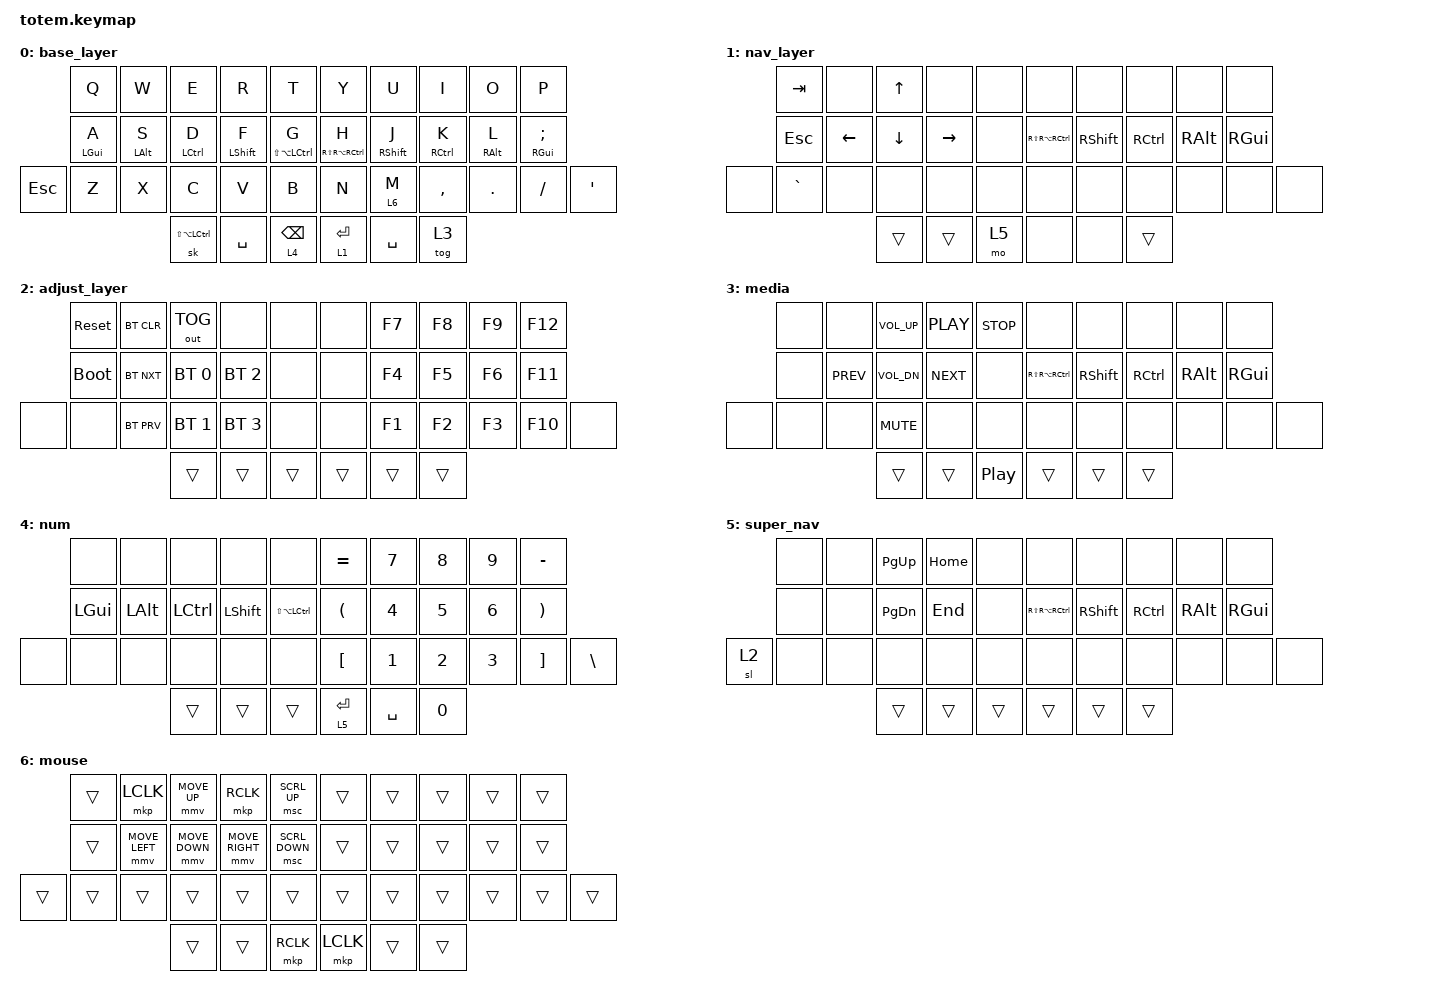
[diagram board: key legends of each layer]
//
//                                                        ▀▀▀▀▀     ▀▀▀▀▀          ▀▀█▀▀
//                                                        ▄▀▀▀▄  ▄  ▄▀▀▀▄  ▄  ▄▀▀▀▄  █  ▄▀▀▀▄
//                                                        █   █  █  █   █  █  █   █  █  █   █
//                                                         ▀▀▀   █   ▀▀▀   █   ▀▀▀   ▀   ▀▀▀
//                                                               █      ▄▄▄█▄▄▄    █   █
//                                                               ▀      █  █  █     █▄█
//                                                             ▀▀▀▀▀    █  █  █      ▀
//                                                                      ▀  ▀  ▀
//
// ▄▄▄▄▄▄▄▄▄▄▄▄▄▄▄▄▄▄▄▄▄▄▄▄▄▄▄▄▄▄▄▄▄▄▄▄▄▄▄▄▄▄▄▄▄▄▄▄▄▄▄▄▄▄▄▄▄▄▄▄▄▄▄▄▄▄▄▄▄▄▄▄▄▄▄▄▄▄▄▄▄▄▄▄▄▄▄▄▄▄▄▄▄▄▄▄▄▄▄▄▄▄▄▄▄▄▄▄▄▄▄▄▄▄▄▄▄▄▄▄▄▄▄▄▄▄▄▄▄▄▄▄▄▄▄▄▄▄▄▄▄▄▄▄▄▄▄▄▄

#define ZMK_POINTING_DEFAULT_MOVE_VAL 1500

#include <behaviors.dtsi>
#include <dt-bindings/zmk/bt.h>
#include <dt-bindings/zmk/keys.h>
#include <dt-bindings/zmk/outputs.h>
#include <dt-bindings/zmk/pointing.h>

&mt {
    quick-tap-ms = <100>;
    global-quick-tap;
    flavor = "tap-preferred";
    tapping-term-ms = <225>;
};

&lt { quick-tap-ms = <200>; };

/ {
    combos {
        compatible = "zmk,combos";

        combo_esc {
            timeout-ms = <50>;
            key-positions = <21 30>;
            bindings = <&caps_word>;
        };
    };

    keymap {
        compatible = "zmk,keymap";

        // ▄▄▄▄▄▄▄▄▄▄▄▄▄▄▄▄▄▄▄▄▄▄▄▄▄▄▄▄▄▄▄▄▄▄▄▄▄▄▄▄▄▄▄▄▄▄▄▄▄▄▄▄▄▄▄▄▄▄▄▄▄▄▄▄▄▄▄▄▄▄▄▄▄▄▄▄▄▄▄▄▄▄▄▄▄▄▄▄▄▄▄▄▄▄▄▄▄▄▄▄▄▄▄▄▄▄▄▄▄▄▄▄▄▄▄▄▄▄▄▄▄▄▄▄▄▄▄▄▄▄▄▄▄▄▄▄▄▄▄▄▄▄▄▄▄▄▄▄▄

        base_layer {
            bindings = <
            &kp Q       &kp W       &kp E              &kp R        &kp T                  &kp Y                &kp U        &kp I        &kp O       &kp P
            &mt LGUI A  &mt LALT S  &mt LCTRL D        &mt LSHFT F  &mt LS(LA(LCTRL)) G    &mt RS(RA(RCTRL)) H  &mt RSHFT J  &mt RCTRL K  &mt RALT L  &mt RGUI SEMICOLON
&kp ESCAPE  &kp Z       &kp X       &kp C              &kp V        &kp B                  &kp N                &lt 6 M      &kp COMMA    &kp DOT     &kp FSLH            &kp SINGLE_QUOTE
                                    &sk LS(LA(LCTRL))  &kp SPACE    &lt 4 BACKSPACE        &lt 1 ENTER          &kp SPACE    &tog 3
            >;
        };

        // ▄▄▄▄▄▄▄▄▄▄▄▄▄▄▄▄▄▄▄▄▄▄▄▄▄▄▄▄▄▄▄▄▄▄▄▄▄▄▄▄▄▄▄▄▄▄▄▄▄▄▄▄▄▄▄▄▄▄▄▄▄▄▄▄▄▄▄▄▄▄▄▄▄▄▄▄▄▄▄▄▄▄▄▄▄▄▄▄▄▄▄▄▄▄▄▄▄▄▄▄▄▄▄▄▄▄▄▄▄▄▄▄▄▄▄▄▄▄▄▄▄▄▄▄▄▄▄▄▄▄▄▄▄▄▄▄▄▄▄▄▄▄▄▄▄▄▄▄▄

        nav_layer {
            bindings = <
       &kp TAB     &none     &kp UP    &none      &none    &none              &none      &none      &none     &none
       &kp ESCAPE  &kp LEFT  &kp DOWN  &kp RIGHT  &none    &kp RS(RA(RCTRL))  &kp RSHFT  &kp RCTRL  &kp RALT  &kp RGUI
&none  &kp GRAVE   &none     &none     &none      &none    &none              &none      &none      &none     &none     &none
                             &trans    &trans     &mo 5    &none              &none      &trans
            >;
        };

        // ▄▄▄▄▄▄▄▄▄▄▄▄▄▄▄▄▄▄▄▄▄▄▄▄▄▄▄▄▄▄▄▄▄▄▄▄▄▄▄▄▄▄▄▄▄▄▄▄▄▄▄▄▄▄▄▄▄▄▄▄▄▄▄▄▄▄▄▄▄▄▄▄▄▄▄▄▄▄▄▄▄▄▄▄▄▄▄▄▄▄▄▄▄▄▄▄▄▄▄▄▄▄▄▄▄▄▄▄▄▄▄▄▄▄▄▄▄▄▄▄▄▄▄▄▄▄▄▄▄▄▄▄▄▄▄▄▄▄▄▄▄▄▄▄▄▄▄▄▄

        adjust_layer {
            bindings = <
       &sys_reset   &bt BT_CLR  &out OUT_TOG  &none         &none     &none   &kp F7  &kp F8  &kp F9  &kp F12
       &bootloader  &bt BT_NXT  &bt BT_SEL 0  &bt BT_SEL 2  &none     &none   &kp F4  &kp F5  &kp F6  &kp F11
&none  &none        &bt BT_PRV  &bt BT_SEL 1  &bt BT_SEL 3  &none     &none   &kp F1  &kp F2  &kp F3  &kp F10  &none
                                &trans        &trans        &trans    &trans  &trans  &trans
            >;
        };

        // ▄▄▄▄▄▄▄▄▄▄▄▄▄▄▄▄▄▄▄▄▄▄▄▄▄▄▄▄▄▄▄▄▄▄▄▄▄▄▄▄▄▄▄▄▄▄▄▄▄▄▄▄▄▄▄▄▄▄▄▄▄▄▄▄▄▄▄▄▄▄▄▄▄▄▄▄▄▄▄▄▄▄▄▄▄▄▄▄▄▄▄▄▄▄▄▄▄▄▄▄▄▄▄▄▄▄▄▄▄▄▄▄▄▄▄▄▄▄▄▄▄▄▄▄▄▄▄▄▄▄▄▄▄▄▄▄▄▄▄▄▄▄▄▄▄▄▄▄▄

        media {
            bindings = <
       &none  &none       &kp C_VOL_UP  &kp C_PLAY  &kp C_STOP          &none              &none      &none      &none     &none
       &none  &kp C_PREV  &kp C_VOL_DN  &kp C_NEXT  &none               &kp RS(RA(RCTRL))  &kp RSHFT  &kp RCTRL  &kp RALT  &kp RGUI
&none  &none  &none       &kp C_MUTE    &none       &none               &none              &none      &none      &none     &none     &none
                          &trans        &trans      &kp C_PLAY_PAUSE    &trans             &trans     &trans
            >;
        };

        // ▄▄▄▄▄▄▄▄▄▄▄▄▄▄▄▄▄▄▄▄▄▄▄▄▄▄▄▄▄▄▄▄▄▄▄▄▄▄▄▄▄▄▄▄▄▄▄▄▄▄▄▄▄▄▄▄▄▄▄▄▄▄▄▄▄▄▄▄▄▄▄▄▄▄▄▄▄▄▄▄▄▄▄▄▄▄▄▄▄▄▄▄▄▄▄▄▄▄▄▄▄▄▄▄▄▄▄▄▄▄▄▄▄▄▄▄▄▄▄▄▄▄▄▄▄▄▄▄▄▄▄▄▄▄▄▄▄▄▄▄▄▄▄▄▄▄▄▄▄

        num {
            bindings = <
       &none     &none     &none      &none      &none                &kp EQUAL             &kp N7     &kp N8  &kp N9  &kp MINUS
       &kp LGUI  &kp LALT  &kp LCTRL  &kp LSHFT  &kp LS(LA(LCTRL))    &kp LEFT_PARENTHESIS  &kp N4     &kp N5  &kp N6  &kp RIGHT_PARENTHESIS
&none  &none     &none     &none      &none      &none                &kp LBKT              &kp N1     &kp N2  &kp N3  &kp RBKT               &kp BACKSLASH
                           &trans     &trans     &trans               &lt 5 ENTER           &kp SPACE  &kp N0
            >;
        };

        // ▄▄▄▄▄▄▄▄▄▄▄▄▄▄▄▄▄▄▄▄▄▄▄▄▄▄▄▄▄▄▄▄▄▄▄▄▄▄▄▄▄▄▄▄▄▄▄▄▄▄▄▄▄▄▄▄▄▄▄▄▄▄▄▄▄▄▄▄▄▄▄▄▄▄▄▄▄▄▄▄▄▄▄▄▄▄▄▄▄▄▄▄▄▄▄▄▄▄▄▄▄▄▄▄▄▄▄▄▄▄▄▄▄▄▄▄▄▄▄▄▄▄▄▄▄▄▄▄▄▄▄▄▄▄▄▄▄▄▄▄▄▄▄▄▄▄▄▄▄

        super_nav {
            bindings = <
       &none  &none  &kp PG_UP      &kp HOME  &none     &none              &none      &none      &none     &none
       &none  &none  &kp PAGE_DOWN  &kp END   &none     &kp RS(RA(RCTRL))  &kp RSHFT  &kp RCTRL  &kp RALT  &kp RGUI
&sl 2  &none  &none  &none          &none     &none     &none              &none      &none      &none     &none     &none
                     &trans         &trans    &trans    &trans             &trans     &trans
            >;
        };

        mouse {
            bindings = <
        &trans  &mkp LCLK       &mmv MOVE_UP    &mkp RCLK        &msc SCRL_UP      &trans     &trans  &trans  &trans  &trans
        &trans  &mmv MOVE_LEFT  &mmv MOVE_DOWN  &mmv MOVE_RIGHT  &msc SCRL_DOWN    &trans     &trans  &trans  &trans  &trans
&trans  &trans  &trans          &trans          &trans           &trans            &trans     &trans  &trans  &trans  &trans  &trans
                                &trans          &trans           &mkp RCLK         &mkp LCLK  &trans  &trans
            >;
        };
    };
};
